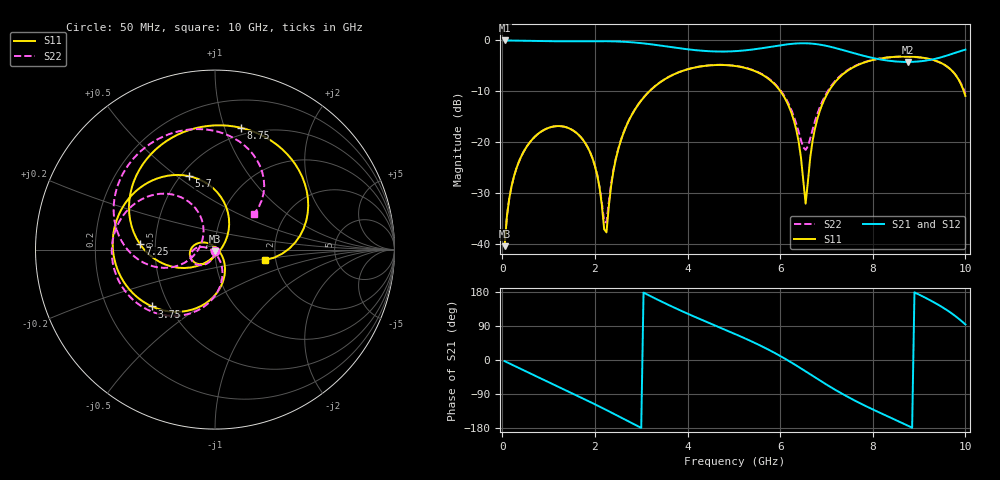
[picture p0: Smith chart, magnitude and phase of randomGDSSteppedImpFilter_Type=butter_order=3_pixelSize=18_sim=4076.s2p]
! freq	dB(S11)	phase(S11)	dB(S12)	phase(S12)
!  dB(S21)	phase(S21)	dB(S22)	phase(S22)
!S-par simulation data
#  GHz  S  DB  R 50
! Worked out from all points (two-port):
!   200 points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, 50 MHz to 10 GHz, reference 50 ohm
!   highest |S21| = -0.01 dB at 50 MHz (marker M1); lowest = -4.2 dB at 8.75 GHz (marker M2)
!   |S21| within 3 dB of the highest: start of sweep to 7.793 GHz; 9.593 GHz to end of sweep
!   lowest |S11| = -40.5 dB at 50 MHz (marker M3), VSWR 1.02, Z = 50 - j0.943 ohm
!   |S11| at or under -10 dB: start of sweep to 3.179 GHz; 6.006 GHz to 7.048 GHz (1.042 GHz wide, 16 % of centre); 9.965334 GHz to end of sweep
!   |S22| runs from -40.5 to -3.2 dB; largest |S21 - S12| = 0
!   S11 on the Smith chart (normalised r, x): 50 MHz: 1.00, -0.02; 3.75 GHz: 0.40, -0.33; 5.7 GHz: 0.55, +0.55; 7.25 GHz: 0.41, +0.03; 8.75 GHz: 0.43, +1.14; 10 GHz: 1.75, -0.22
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0.05  -40.50 -91.5  -0.01 -3.0  -0.01 -3.0  -40.49 -91.3
0.25  -26.83 -105.4  -0.03 -14.8  -0.03 -14.8  -26.83 -104.2
0.6  -19.99 -127.1  -0.09 -35.2  -0.09 -35.2  -19.99 -124.2
1.2  -16.86 -163.8  -0.17 -69.9  -0.17 -69.9  -16.86 -157.1
1.75  -19.66 160.7  -0.17 -101.9  -0.17 -101.9  -19.66 175.1
2  -24.71 140.1  -0.15 -116.9  -0.15 -116.9  -24.67 167.3
2.25  -37.78 18.2  -0.16 -132.2  -0.16 -132.2  -35.84 -108.0
2.4  -25.70 -41.4  -0.19 -141.5  -0.19 -141.5  -25.46 -66.8
2.6  -18.66 -61.5  -0.25 -154.0  -0.25 -154.0  -18.57 -69.9
3.4  -8.30 -116.6  -0.99 156.4  -0.99 156.4  -8.27 -112.1
3.75  -6.50 -137.9  -1.45 136.1  -1.45 136.1  -6.48 -130.8
5.05  -5.06 149.6  -2.10 67.3  -2.10 67.3  -5.02 166.5
5.7  -7.23 109.6  -1.40 30.3  -1.40 30.3  -7.16 134.9
6.3  -15.87 60.6  -0.64 -10.8  -0.64 -10.8  -15.06 114.1
6.55  -32.12 -40.5  -0.57 -30.0  -0.57 -30.0  -21.55 160.2
6.7  -19.79 -129.7  -0.64 -41.7  -0.64 -41.7  -17.57 -162.1
7.25  -7.56 175.8  -1.64 -83.0  -1.64 -83.0  -7.38 -172.3
7.75  -4.56 139.8  -2.91 -115.6  -2.91 -115.6  -4.50 161.1
8.35  -3.33 102.1  -4.00 -150.3  -4.00 -150.3  -3.33 131.3
8.75  -3.17 78.1  -4.24 -172.8  -4.24 -172.8  -3.20 111.8
9.5  -4.55 29.1  -3.26 139.5  -3.26 139.5  -4.59 71.5
10  -10.93 -11.9  -1.82 93.8  -1.82 93.8  -10.54 42.5
